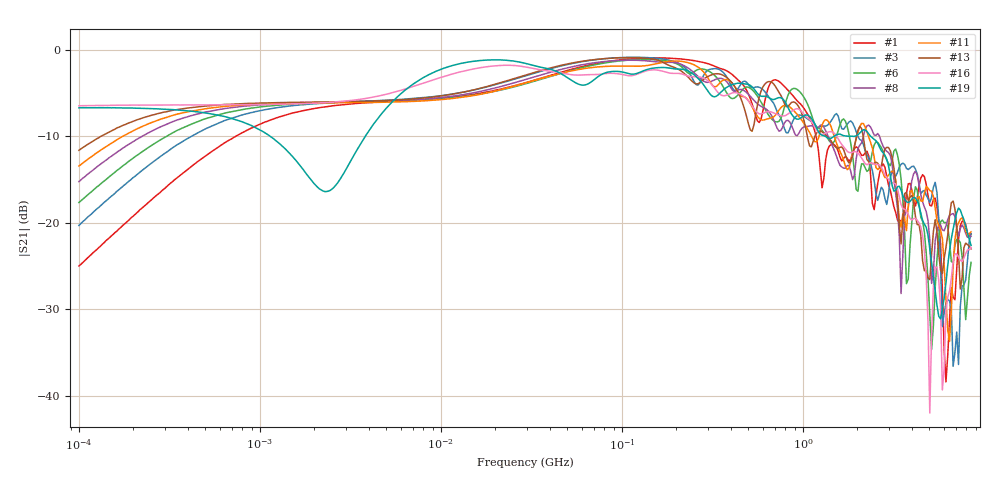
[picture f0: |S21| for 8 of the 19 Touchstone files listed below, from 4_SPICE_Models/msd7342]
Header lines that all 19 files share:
# MHz S MA R 50
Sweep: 100 kHz to 8.5 GHz
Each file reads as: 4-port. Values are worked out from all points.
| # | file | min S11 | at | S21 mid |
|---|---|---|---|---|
| 1 | MSD7342-103.s4p | -39.1 dB | 407.6 MHz | -3.8 dB at 29.49 MHz |
| 2 | MSD7342-104.s4p | -43.3 dB | 347.4 MHz | -7.6 dB at 29.49 MHz |
| 3 | MSD7342-153.s4p | -38.3 dB | 317.1 MHz | -3.0 dB at 29.49 MHz |
| 4 | MSD7342-183.s4p | -38.4 dB | 417.1 MHz | -2.6 dB at 29.49 MHz |
| 5 | MSD7342-184.s4p | -33.0 dB | 187.5 MHz | -2.3 dB at 29.49 MHz |
| 6 | MSD7342-223.s4p | -32.0 dB | 220 MHz | -3.9 dB at 29.49 MHz |
| 7 | MSD7342-224.s4p | -50.5 dB | 156.2 MHz | -2.0 dB at 29.49 MHz |
| 8 | MSD7342-273.s4p | -31.2 dB | 191.9 MHz | -3.4 dB at 29.49 MHz |
| 9 | MSD7342-333.s4p | -21.8 dB | 601 MHz | -3.1 dB at 29.49 MHz |
| 10 | MSD7342-334.s4p | -26.0 dB | 587.5 MHz | -1.2 dB at 29.49 MHz |
| 11 | MSD7342-393.s4p | -35.3 dB | 886.1 MHz | -3.8 dB at 29.49 MHz |
| 12 | MSD7342-394.s4p | -30.7 dB | 658.5 MHz | -1.7 dB at 29.49 MHz |
| 13 | MSD7342-473.s4p | -24.1 dB | 398.4 MHz | -2.9 dB at 29.49 MHz |
| 14 | MSD7342-474.s4p | -33.8 dB | 225.1 MHz | -3.6 dB at 29.49 MHz |
| 15 | MSD7342-563.s4p | -25.6 dB | 949 MHz | -5.6 dB at 29.49 MHz |
| 16 | MSD7342-564.s4p | -47.1 dB | 363.7 MHz | -2.0 dB at 29.49 MHz |
| 17 | MSD7342-683.s4p | -31.5 dB | 339.6 MHz | -2.3 dB at 29.49 MHz |
| 18 | MSD7342-823.s4p | -27.2 dB | 705.2 MHz | -8.8 dB at 29.49 MHz |
| 19 | MSD7342-824.s4p | -41.6 dB | 175.1 MHz | -1.6 dB at 29.49 MHz |
